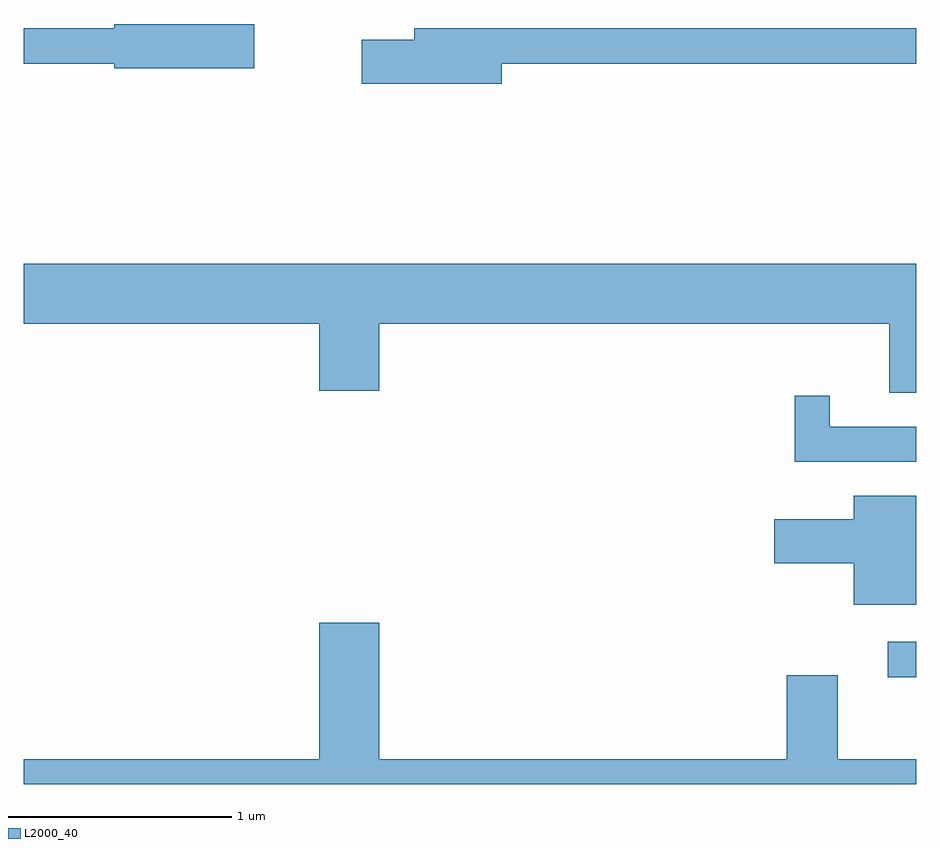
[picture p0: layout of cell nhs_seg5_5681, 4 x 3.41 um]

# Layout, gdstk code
import gdstk
lib = gdstk.Library(unit=1e-6, precision=1e-09)
def R(c, l, rs):  # rectangles x0, y0, x1, y1
    for r in rs: c.add(gdstk.rectangle(r[:2], r[2:], *l))
def P(c, l, *ps):  # polygons
    for p in ps: c.add(gdstk.Polygon(p, *l))
L2000_40 = (2000, 40)

nhs_seg5_5681 = lib.new_cell('nhs_seg5_5681')
R(nhs_seg5_5681, L2000_40, [(357.483,1448.551,357.611,1448.709)])
P(nhs_seg5_5681, L2000_40, [(354.644,1451.479),(354.016,1451.479),(354.016,1451.459),(353.611,1451.459),(353.611,1451.301),(354.016,1451.301),(354.016,1451.281),(354.644,1451.281)],
  [(355.754,1451.301),(357.611,1451.301),(357.611,1451.459),(355.361,1451.459),(355.361,1451.409),(355.126,1451.409),(355.126,1451.211),(355.754,1451.211)],
  [(357.611,1450.404),(353.611,1450.404),(353.611,1450.136),(354.936,1450.136),(354.936,1449.836),(355.204,1449.836),(355.204,1450.136),(357.491,1450.136),(357.491,1449.826),(357.611,1449.826)],
  [(357.611,1449.674),(357.224,1449.674),(357.224,1449.813),(357.066,1449.813),(357.066,1449.516),(357.611,1449.516)],
  [(357.611,1449.364),(357.331,1449.364),(357.331,1449.259),(356.976,1449.259),(356.976,1449.061),(357.331,1449.061),(357.331,1448.876),(357.611,1448.876)],
  [(357.611,1448.184),(357.259,1448.184),(357.259,1448.559),(357.031,1448.559),(357.031,1448.184),(355.204,1448.184),(355.204,1448.794),(354.936,1448.794),(354.936,1448.184),(353.611,1448.184),(353.611,1448.072),(357.611,1448.072)])

lib.write_gds('nhs_seg5_5681.gds')
